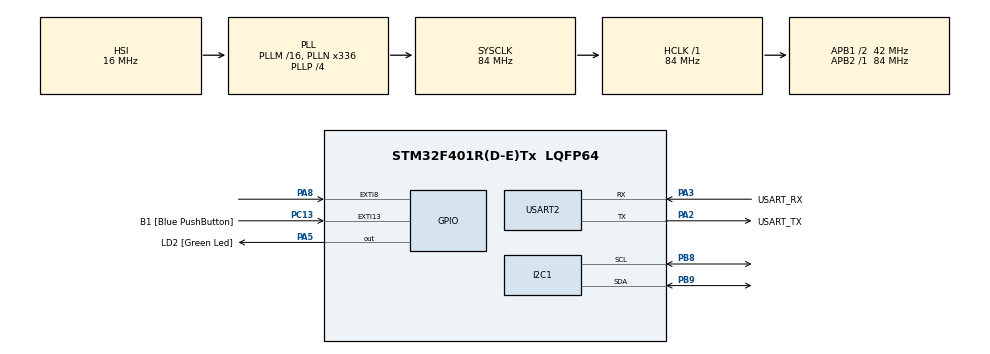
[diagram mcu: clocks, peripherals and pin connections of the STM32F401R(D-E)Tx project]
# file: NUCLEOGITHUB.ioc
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Mcu.Family=STM32F4
Mcu.Name=STM32F401R(D-E)Tx
Mcu.Package=LQFP64
NVIC.EXTI9_5_IRQn=true\:0\:0\:false\:false\:true\:true\:true\:true
NVIC.PriorityGroup=NVIC_PRIORITYGROUP_0
PA13.GPIO_Label=TMS
PA13.Mode=Serial_Wire
PA13.Signal=SYS_JTMS-SWDIO
PA14.GPIO_Label=TCK
PA14.Mode=Serial_Wire
PA14.Signal=SYS_JTCK-SWCLK
PA2.GPIO_Label=USART_TX
PA2.GPIO_Mode=GPIO_MODE_AF_PP
PA2.GPIO_PuPd=GPIO_NOPULL
PA2.GPIO_Speed=GPIO_SPEED_FREQ_LOW
PA2.Mode=Asynchronous
PA2.Signal=USART2_TX
PA3.GPIO_Label=USART_RX
PA3.GPIO_Mode=GPIO_MODE_AF_PP
PA3.GPIO_PuPd=GPIO_NOPULL
PA3.GPIO_Speed=GPIO_SPEED_FREQ_LOW
PA3.Mode=Asynchronous
PA3.Signal=USART2_RX
PA5.GPIO_Label=LD2 [Green Led]
PA5.GPIO_Mode=GPIO_MODE_OUTPUT_PP
PA5.GPIO_PuPd=GPIO_NOPULL
PA5.GPIO_Speed=GPIO_SPEED_FREQ_LOW
PA5.Signal=GPIO_Output
PA8.GPIO_ModeDefaultEXTI=GPIO_MODE_IT_FALLING
PA8.GPIO_PuPd=GPIO_PULLUP
PA8.Signal=GPXTI8
PB3.GPIO_Label=SWO
PB3.Signal=SYS_JTDO-SWO
PB8.Mode=I2C
PB8.Signal=I2C1_SCL
PB9.Mode=I2C
PB9.Signal=I2C1_SDA
PC13-ANTI_TAMP.GPIO_Label=B1 [Blue PushButton]
PC13-ANTI_TAMP.GPIO_ModeDefaultEXTI=GPIO_MODE_IT_FALLING
PC13-ANTI_TAMP.GPIO_PuPd=GPIO_NOPULL
PC13-ANTI_TAMP.Signal=GPXTI13
PC14-OSC32_IN.Mode=LSE-External-Oscillator
PC14-OSC32_IN.Signal=RCC_OSC32_IN
PC15-OSC32_OUT.Mode=LSE-External-Oscillator
PC15-OSC32_OUT.Signal=RCC_OSC32_OUT
PH0\ -\ OSC_IN.Mode=HSE-External-Clock-Source
PH0\ -\ OSC_IN.Signal=RCC_OSC_IN
PH1\ -\ OSC_OUT.Mode=HSE-External-Clock-Source
PH1\ -\ OSC_OUT.Signal=RCC_OSC_OUT
ProjectManager.HeapSize=0x200
ProjectManager.StackSize=0x400
ProjectManager.TargetToolchain=STM32CubeIDE
RCC.48MHZClocksFreq_Value=48000000
RCC.AHBFreq_Value=84000000
RCC.APB1CLKDivider=RCC_HCLK_DIV2
RCC.APB1Freq_Value=42000000
RCC.APB1TimFreq_Value=84000000
RCC.APB2Freq_Value=84000000
RCC.APB2TimFreq_Value=84000000
RCC.CortexFreq_Value=84000000
RCC.HCLKFreq_Value=84000000
RCC.HSE_VALUE=8000000
RCC.HSI_VALUE=16000000
RCC.PLLN=336
RCC.PLLP=RCC_PLLP_DIV4
RCC.PLLQ=7
RCC.SYSCLKFreq_VALUE=84000000
RCC.SYSCLKSource=RCC_SYSCLKSOURCE_PLLCLK
RCC.VCOOutputFreq_Value=336000000
USART2.VirtualMode=VM_ASYNC
board=NUCLEO-F401RE

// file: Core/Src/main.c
/* USER CODE BEGIN Header */
/**
  ******************************************************************************
  * @file           : main.c
  * @brief          : Main program body
  ******************************************************************************
  * @attention
  *
  * Copyright (c) 2024 STMicroelectronics.
  * All rights reserved.
  *
  * This software is licensed under terms that can be found in the LICENSE file
  * in the root directory of this software component.
  * If no LICENSE file comes with this software, it is provided AS-IS.
  *
  ******************************************************************************
  */
/* USER CODE END Header */
#include "main.h"

/* USER CODE BEGIN Includes */
#include <stdio.h>
#include "max30102_for_stm32_hal.h"

/* USER CODE END Includes */

I2C_HandleTypeDef hi2c1;

UART_HandleTypeDef huart2;

/* USER CODE BEGIN PV */
int __io_putchar(int ch)
{
  uint8_t temp = ch;
  HAL_UART_Transmit(&huart2, &temp, 1, HAL_MAX_DELAY);
  return ch;
}

// Override plot function
void max30102_plot(uint32_t ir_sample, uint32_t red_sample)
{
    // printf("ir:%u\n", ir_sample);                  // Print IR only
    // printf("r:%u\n", red_sample);                  // Print Red only
    printf("ir:%u,r:%u\n", ir_sample, red_sample);    // Print IR and Red
}

// MAX30102 object
max30102_t max30102;

/* USER CODE END PV */

void SystemClock_Config(void);
static void MX_GPIO_Init(void);
static void MX_USART2_UART_Init(void);
static void MX_I2C1_Init(void);

int main(void)
{

  /* MCU Configuration--------------------------------------------------------*/

  /* Reset of all peripherals, Initializes the Flash interface and the Systick. */
  HAL_Init();

  /* Configure the system clock */
  SystemClock_Config();

  /* Initialize all configured peripherals */
  MX_GPIO_Init();
  MX_USART2_UART_Init();
  MX_I2C1_Init();
  /* USER CODE BEGIN 2 */
  // Initiation
    max30102_init(&max30102, &hi2c1);
    max30102_reset(&max30102);
    max30102_clear_fifo(&max30102);
    max30102_set_fifo_config(&max30102, max30102_smp_ave_8, 1, 7);

    // Sensor settings
    max30102_set_led_pulse_width(&max30102, max30102_pw_16_bit);
    max30102_set_adc_resolution(&max30102, max30102_adc_2048);
    max30102_set_sampling_rate(&max30102, max30102_sr_800);
    max30102_set_led_current_1(&max30102, 6.2);
    max30102_set_led_current_2(&max30102, 6.2);

    // Enter SpO2 mode
    max30102_set_mode(&max30102, max30102_spo2);
    max30102_set_a_full(&max30102, 1);

    // Initiate 1 temperature measurement
    max30102_set_die_temp_en(&max30102, 1);
    max30102_set_die_temp_rdy(&max30102, 1);

    uint8_t en_reg[2] = {0};
    max30102_read(&max30102, 0x00, en_reg, 1);

  /* USER CODE END 2 */

  /* Infinite loop */
  /* USER CODE BEGIN WHILE */
  while (1)
  {
	      if (max30102_has_interrupt(&max30102))
	      {
	        max30102_interrupt_handler(&max30102);
	      }
    /* USER CODE END WHILE */

  }
}

void SystemClock_Config(void)
{
  RCC_OscInitTypeDef RCC_OscInitStruct = {0};
  RCC_ClkInitTypeDef RCC_ClkInitStruct = {0};

  /** Configure the main internal regulator output voltage
  */
  __HAL_RCC_PWR_CLK_ENABLE();
  __HAL_PWR_VOLTAGESCALING_CONFIG(PWR_REGULATOR_VOLTAGE_SCALE2);

  /** Initializes the RCC Oscillators according to the specified parameters
  * in the RCC_OscInitTypeDef structure.
  */
  RCC_OscInitStruct.OscillatorType = RCC_OSCILLATORTYPE_HSI;
  RCC_OscInitStruct.HSIState = RCC_HSI_ON;
  RCC_OscInitStruct.HSICalibrationValue = RCC_HSICALIBRATION_DEFAULT;
  RCC_OscInitStruct.PLL.PLLState = RCC_PLL_ON;
  RCC_OscInitStruct.PLL.PLLSource = RCC_PLLSOURCE_HSI;
  RCC_OscInitStruct.PLL.PLLM = 16;
  RCC_OscInitStruct.PLL.PLLN = 336;
  RCC_OscInitStruct.PLL.PLLP = RCC_PLLP_DIV4;
  RCC_OscInitStruct.PLL.PLLQ = 7;
  if (HAL_RCC_OscConfig(&RCC_OscInitStruct) != HAL_OK)
  {
    Error_Handler();
  }

  /** Initializes the CPU, AHB and APB buses clocks
  */
  RCC_ClkInitStruct.ClockType = RCC_CLOCKTYPE_HCLK|RCC_CLOCKTYPE_SYSCLK
                              |RCC_CLOCKTYPE_PCLK1|RCC_CLOCKTYPE_PCLK2;
  RCC_ClkInitStruct.SYSCLKSource = RCC_SYSCLKSOURCE_PLLCLK;
  RCC_ClkInitStruct.AHBCLKDivider = RCC_SYSCLK_DIV1;
  RCC_ClkInitStruct.APB1CLKDivider = RCC_HCLK_DIV2;
  RCC_ClkInitStruct.APB2CLKDivider = RCC_HCLK_DIV1;

  if (HAL_RCC_ClockConfig(&RCC_ClkInitStruct, FLASH_LATENCY_2) != HAL_OK)
  {
    Error_Handler();
  }
}

static void MX_I2C1_Init(void)
{

  hi2c1.Instance = I2C1;
  hi2c1.Init.ClockSpeed = 100000;
  hi2c1.Init.DutyCycle = I2C_DUTYCYCLE_2;
  hi2c1.Init.OwnAddress1 = 0;
  hi2c1.Init.AddressingMode = I2C_ADDRESSINGMODE_7BIT;
  hi2c1.Init.DualAddressMode = I2C_DUALADDRESS_DISABLE;
  hi2c1.Init.OwnAddress2 = 0;
  hi2c1.Init.GeneralCallMode = I2C_GENERALCALL_DISABLE;
  hi2c1.Init.NoStretchMode = I2C_NOSTRETCH_DISABLE;
  if (HAL_I2C_Init(&hi2c1) != HAL_OK)
  {
    Error_Handler();
  }

}

static void MX_USART2_UART_Init(void)
{

  huart2.Instance = USART2;
  huart2.Init.BaudRate = 115200;
  huart2.Init.WordLength = UART_WORDLENGTH_8B;
  huart2.Init.StopBits = UART_STOPBITS_1;
  huart2.Init.Parity = UART_PARITY_NONE;
  huart2.Init.Mode = UART_MODE_TX_RX;
  huart2.Init.HwFlowCtl = UART_HWCONTROL_NONE;
  huart2.Init.OverSampling = UART_OVERSAMPLING_16;
  if (HAL_UART_Init(&huart2) != HAL_OK)
  {
    Error_Handler();
  }

}

static void MX_GPIO_Init(void)
{
  GPIO_InitTypeDef GPIO_InitStruct = {0};

  /* GPIO Ports Clock Enable */
  __HAL_RCC_GPIOC_CLK_ENABLE();
  __HAL_RCC_GPIOH_CLK_ENABLE();
  __HAL_RCC_GPIOA_CLK_ENABLE();
  __HAL_RCC_GPIOB_CLK_ENABLE();

  /*Configure GPIO pin Output Level */
  HAL_GPIO_WritePin(LD2_GPIO_Port, LD2_Pin, GPIO_PIN_RESET);

  /*Configure GPIO pin : B1_Pin */
  GPIO_InitStruct.Pin = B1_Pin;
  GPIO_InitStruct.Mode = GPIO_MODE_IT_FALLING;
  GPIO_InitStruct.Pull = GPIO_NOPULL;
  HAL_GPIO_Init(B1_GPIO_Port, &GPIO_InitStruct);

  /*Configure GPIO pin : LD2_Pin */
  GPIO_InitStruct.Pin = LD2_Pin;
  GPIO_InitStruct.Mode = GPIO_MODE_OUTPUT_PP;
  GPIO_InitStruct.Pull = GPIO_NOPULL;
  GPIO_InitStruct.Speed = GPIO_SPEED_FREQ_LOW;
  HAL_GPIO_Init(LD2_GPIO_Port, &GPIO_InitStruct);

  /*Configure GPIO pin : PA8 */
  GPIO_InitStruct.Pin = GPIO_PIN_8;
  GPIO_InitStruct.Mode = GPIO_MODE_IT_FALLING;
  GPIO_InitStruct.Pull = GPIO_PULLUP;
  HAL_GPIO_Init(GPIOA, &GPIO_InitStruct);

  /* EXTI interrupt init*/
  HAL_NVIC_SetPriority(EXTI9_5_IRQn, 0, 0);
  HAL_NVIC_EnableIRQ(EXTI9_5_IRQn);

}

void Error_Handler(void)
{
  __disable_irq();
  while (1)
  {
  }
}
